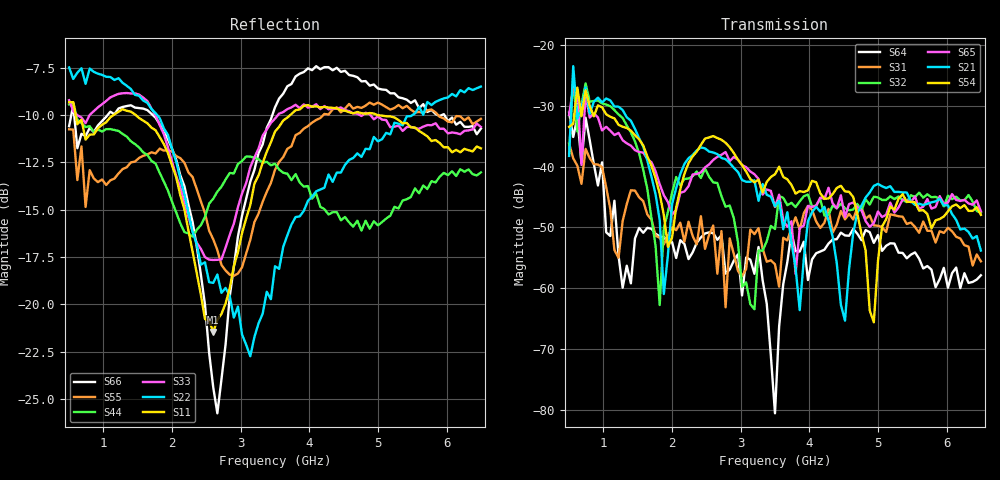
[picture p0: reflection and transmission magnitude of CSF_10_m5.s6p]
!Keysight Technologies,M9804A,MY58100912,A.14.10.03
!Date: Thursday, April 27, 2023 10:28:33
!Correction: S11(C  6-Port  )
!S12(C  6-Port  )
!S13(C  6-Port  )
!S14(C  6-Port  )
!S15(C  6-Port  )
!S16(C  6-Port  )
!S21(C  6-Port  )
!S22(C  6-Port  )
!S23(C  6-Port  )
!S24(C  6-Port  )
!S25(C  6-Port  )
!S26(C  6-Port  )
!S31(C  6-Port  )
!S32(C  6-Port  )
!S33(C  6-Port  )
!S34(C  6-Port  )
!S35(C  6-Port  )
!S36(C  6-Port  )
!S41(C  6-Port  )
!S42(C  6-Port  )
!S43(C  6-Port  )
!S44(C  6-Port  )
!S45(C  6-Port  )
!S46(C  6-Port  )
!S51(C  6-Port  )
!S52(C  6-Port  )
!S53(C  6-Port  )
!S54(C  6-Port  )
!S55(C  6-Port  )
!S56(C  6-Port  )
!S61(C  6-Port  )
!S62(C  6-Port  )
!S63(C  6-Port  )
!S64(C  6-Port  )
!S65(C  6-Port  )
!S66(C  6-Port  )
!S6P File: Measurement: :
# Hz S  RI  R 50
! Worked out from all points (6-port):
!   101 points, 500 MHz to 6.5 GHz, reference 50 ohm
!   strongest paths, dB at 500 MHz, 2 GHz, 3.5 GHz, 5 GHz, 6.5 GHz:
!     S54: -33.4, -51.6, -41.2, -55.6, -47.9
!     S21: -38.2, -46.2, -46.5, -42.8, -53.8
!     S65: -31.5, -47.9, -46.6, -47.4, -47.4
!     S32: -37.8, -44.3, -50.3, -45.1, -47.6
!     S31: -36.2, -50.0, -56.1, -49.7, -55.6
!     S64: -31.1, -52.4, -80.6, -51.2, -57.9
!   lowest |S11| = -21.5 dB at 2.6 GHz (marker M1), VSWR 1.18, Z = 42.5 + j2.35 ohm
!   |S11| at or under -10 dB: 594.5 MHz to 1.15 GHz (555.3 MHz wide, 63.7 % of centre); 1.467 GHz to 3.726 GHz (2.259 GHz wide, 87 % of centre); 4.986 GHz to end of sweep
